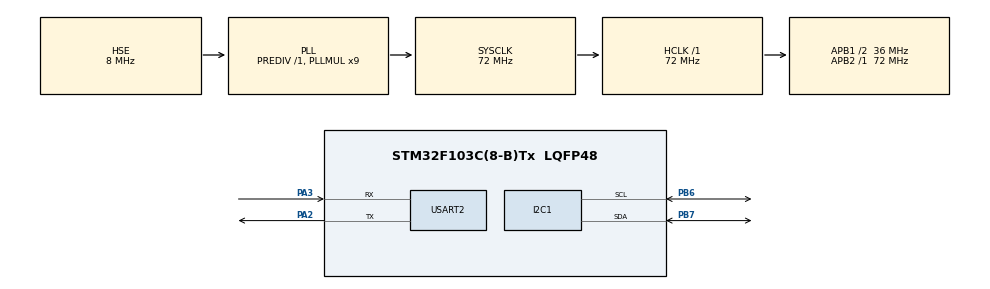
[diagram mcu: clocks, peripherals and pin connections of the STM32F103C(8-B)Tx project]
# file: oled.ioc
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I2C1.I2C_Mode=I2C_Fast
Mcu.Family=STM32F1
Mcu.Name=STM32F103C(8-B)Tx
Mcu.Package=LQFP48
NVIC.I2C1_ER_IRQn=true\:3\:0\:true\:false\:true\:true\:true\:true
NVIC.I2C1_EV_IRQn=true\:3\:0\:true\:false\:true\:true\:true\:true
NVIC.PriorityGroup=NVIC_PRIORITYGROUP_4
NVIC.TIM4_IRQn=true\:15\:0\:false\:false\:true\:false\:true\:true
NVIC.TimeBase=TIM4_IRQn
NVIC.TimeBaseIP=TIM4
NVIC.USART2_IRQn=true\:3\:0\:true\:false\:true\:true\:true\:true
PA13.Mode=Serial_Wire
PA13.Signal=SYS_JTMS-SWDIO
PA14.Mode=Serial_Wire
PA14.Signal=SYS_JTCK-SWCLK
PA2.Mode=Asynchronous
PA2.Signal=USART2_TX
PA3.Mode=Asynchronous
PA3.Signal=USART2_RX
PB6.Mode=I2C
PB6.Signal=I2C1_SCL
PB7.Mode=I2C
PB7.Signal=I2C1_SDA
PC14-OSC32_IN.Mode=LSE-External-Oscillator
PC14-OSC32_IN.Signal=RCC_OSC32_IN
PC15-OSC32_OUT.Mode=LSE-External-Oscillator
PC15-OSC32_OUT.Signal=RCC_OSC32_OUT
PD0-OSC_IN.Mode=HSE-External-Oscillator
PD0-OSC_IN.Signal=RCC_OSC_IN
PD1-OSC_OUT.Mode=HSE-External-Oscillator
PD1-OSC_OUT.Signal=RCC_OSC_OUT
ProjectManager.HeapSize=0x200
ProjectManager.StackSize=0x400
ProjectManager.TargetToolchain=Makefile
RCC.AHBFreq_Value=72000000
RCC.APB1CLKDivider=RCC_HCLK_DIV2
RCC.APB1Freq_Value=36000000
RCC.APB1TimFreq_Value=72000000
RCC.APB2Freq_Value=72000000
RCC.APB2TimFreq_Value=72000000
RCC.HCLKFreq_Value=72000000
RCC.PLLMUL=RCC_PLL_MUL9
RCC.PLLSourceVirtual=RCC_PLLSOURCE_HSE
RCC.SYSCLKFreq_VALUE=72000000
RCC.SYSCLKSource=RCC_SYSCLKSOURCE_PLLCLK
RCC.USBFreq_Value=72000000
USART2.VirtualMode=VM_ASYNC
VP_SYS_VS_tim4.Mode=TIM4
board=custom

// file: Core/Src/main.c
/* USER CODE BEGIN Header */
/**
  ******************************************************************************
  * @file           : main.c
  * @brief          : Main program body
  ******************************************************************************
  * @attention
  *
  * Copyright (c) 2026 STMicroelectronics.
  * All rights reserved.
  *
  * This software is licensed under terms that can be found in the LICENSE file
  * in the root directory of this software component.
  * If no LICENSE file comes with this software, it is provided AS-IS.
  *
  ******************************************************************************
  */
/* USER CODE END Header */
#include "main.h"
#include "i2c.h"
#include "usart.h"
#include "gpio.h"

/* USER CODE BEGIN Includes */
#include <string.h>
#include <math.h>
#include <stdio.h>
#include "oled.h"
#include "font.h"
/* USER CODE END Includes */

/* USER CODE BEGIN PD */
volatile int m_iOutputtype = 0;
/* USER CODE END PD */

/* USER CODE BEGIN PV */
extern volatile uint8_t rx_flag2; //禁止编译程序优化
extern volatile uint8_t tx_flag2;
extern volatile uint8_t TIM_flag;
uint8_t message[1]={0};
uint8_t JustFloatTial[4] = {0x00,0x00,0x80,0x7F};//每次数据发送完毕，必须发送Tial结束控制符
//波形参数
float A = 2.0;
float startx=-4.0;
float endx=4.0;
int N = 100;//每个周期的输出点数，数据10ms间隔时间
float T = 100*10.0;//ms
float stepx=6.28318530718f/100;//每点相位步进=2π/N，连续回绕不再折返
float fx=0;
float fy=0;
int m_iDir = 0;

/* USER CODE END PV */

void SystemClock_Config(void);

int main(void)
{

  /* USER CODE BEGIN 1 */
  m_iOutputtype = 0;
  /* USER CODE END 1 */

  /* MCU Configuration--------------------------------------------------------*/

  /* Reset of all peripherals, Initializes the Flash interface and the Systick. */
  HAL_Init();

  /* Configure the system clock */
  SystemClock_Config();

  /* Initialize all configured peripherals */
  MX_GPIO_Init();
  MX_I2C1_Init();
  MX_USART2_UART_Init();
  /* USER CODE BEGIN 2 */
  HAL_Delay(20); // 单片机启动比OLED上电快,需要延迟等待一下
  OLED_Init();
  HAL_UART_Receive_IT(&huart2,message,1);
  /* USER CODE END 2 */

  /* Infinite loop */
  /* USER CODE BEGIN WHILE */
  while (1)
  {
    //1、处理串口2接收中断回调
    if(rx_flag2==1)
    {
      if(message[0]=='1')
      {
        m_iOutputtype=0;
      }
      else if(message[0]=='2')
      {
        m_iOutputtype=1;
      }
      else if(message[0]=='3')
      {
        m_iOutputtype=2;
      }
      else{}
      rx_flag2=0;
      HAL_UART_Receive_IT(&huart2,message,1);
      HAL_UART_Transmit_IT(&huart2,message,1);
    }
     // 中英文字符串混合显示
     // 2.oled显示菜单
    OLED_NewFrame();
    switch (m_iOutputtype)
    {
    case 0:
      OLED_PrintString(0, 0, "Sine", &font16x16, OLED_COLOR_NORMAL);
      break;
    case 1:
      OLED_PrintString(0, 0, "Sawtooth", &font16x16, OLED_COLOR_NORMAL);
      break;
    case 2:
      OLED_PrintString(0, 0, "Square", &font16x16, OLED_COLOR_NORMAL);
      break;
    default:
      break;
    }

    OLED_ShowFrame();
    // 3.增加stepx,计算fy
    switch(m_iOutputtype)
    {
      case 0:
        fx+=stepx;
        if(fx>6.28318530718f){
          fx-=6.28318530718f;
        }
        fy=A*sin(fx);
        break;
        case 1:
          fx+=stepx;
          if(fx>6.28318530718f){
            fx-=6.28318530718f;
          }
          fy=A*(fx/3.14159265359f - 1.0f);
          break;
        case 2:

        fx+=stepx;
          if(fx<=(startx+endx)/2.0)
          {
            fy=A*(-1);
          }
          else
          {
            fy = A;
          }
          if(fx>=endx)
          {
            fx=startx;
          }
          break;
    }

    //4.串口2发送fy
    HAL_UART_Transmit_IT(&huart2,(unsigned char *)&fy,4);//串口2发送字符串,1个浮点数4个字节
    HAL_Delay(5);
    HAL_UART_Transmit_IT(&huart2,JustFloatTial,4);//串口2发送结束控制符
    //5.串口2发送结束控制符 0x00 0x00 0x80 0x7A
    HAL_Delay(5);
    /* USER CODE END WHILE */

  }
}

void SystemClock_Config(void)
{
  RCC_OscInitTypeDef RCC_OscInitStruct = {0};
  RCC_ClkInitTypeDef RCC_ClkInitStruct = {0};

  /** Initializes the RCC Oscillators according to the specified parameters
  * in the RCC_OscInitTypeDef structure.
  */
  RCC_OscInitStruct.OscillatorType = RCC_OSCILLATORTYPE_HSE;
  RCC_OscInitStruct.HSEState = RCC_HSE_ON;
  RCC_OscInitStruct.HSEPredivValue = RCC_HSE_PREDIV_DIV1;
  RCC_OscInitStruct.HSIState = RCC_HSI_ON;
  RCC_OscInitStruct.PLL.PLLState = RCC_PLL_ON;
  RCC_OscInitStruct.PLL.PLLSource = RCC_PLLSOURCE_HSE;
  RCC_OscInitStruct.PLL.PLLMUL = RCC_PLL_MUL9;
  if (HAL_RCC_OscConfig(&RCC_OscInitStruct) != HAL_OK)
  {
    Error_Handler();
  }

  /** Initializes the CPU, AHB and APB buses clocks
  */
  RCC_ClkInitStruct.ClockType = RCC_CLOCKTYPE_HCLK|RCC_CLOCKTYPE_SYSCLK
                              |RCC_CLOCKTYPE_PCLK1|RCC_CLOCKTYPE_PCLK2;
  RCC_ClkInitStruct.SYSCLKSource = RCC_SYSCLKSOURCE_PLLCLK;
  RCC_ClkInitStruct.AHBCLKDivider = RCC_SYSCLK_DIV1;
  RCC_ClkInitStruct.APB1CLKDivider = RCC_HCLK_DIV2;
  RCC_ClkInitStruct.APB2CLKDivider = RCC_HCLK_DIV1;

  if (HAL_RCC_ClockConfig(&RCC_ClkInitStruct, FLASH_LATENCY_2) != HAL_OK)
  {
    Error_Handler();
  }
}

void HAL_TIM_PeriodElapsedCallback(TIM_HandleTypeDef *htim)
{
  if (htim->Instance == TIM4)
  {
    HAL_IncTick();
  }
}

void Error_Handler(void)
{
  __disable_irq();
  while (1)
  {
  }
}
